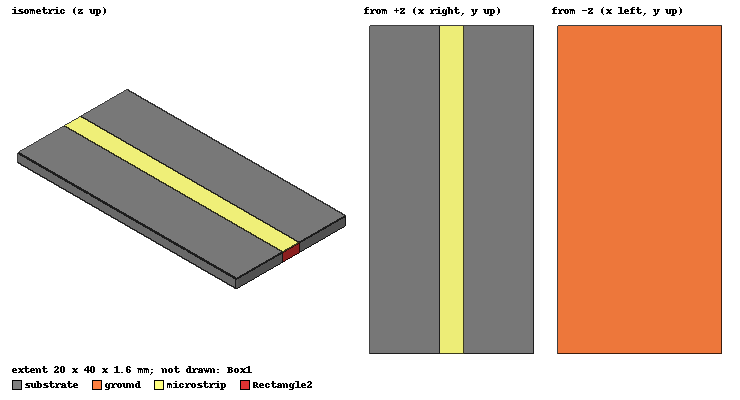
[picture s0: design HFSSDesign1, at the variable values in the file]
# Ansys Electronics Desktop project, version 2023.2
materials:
  vacuum: permittivity=1
  FR4_epoxy: permittivity=4.4 dielectric_loss_tangent=0.02
  air: permittivity=1.0006 permeability=1.0000004

design HFSSDesign1 (HFSS, HFSS Terminal Composite, model units mm)
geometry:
  ground = rectangle(corner=(0mm, 0mm, 0mm), x_size=20mm, y_size=40mm)
  substrate [FR4_epoxy] = box(corner=(0mm, 0mm, 0mm), size=(20mm, 40mm, 1.6mm))
  microstrip = rectangle(corner=((10 -1.5) mm, 0mm, 1.6mm), x_size=3mm, y_size=40mm)
  Rectangle1 = rectangle(corner=(8.5mm, 0mm, 1.6mm), z_size=-1.6mm, x_size=3mm)
  Rectangle2 = rectangle(corner=(11.5mm, 40mm, 1.6mm), z_size=-1.6mm, x_size=-3mm)
  Box1 [air] = box(corner=(-10mm, -10mm, -20mm), size=(40mm, 60mm, 40mm))
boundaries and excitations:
  PerfE1: Perfect E Objects=[ground, microstrip]
  Rad1: Radiation Objects=Box1
  1: Lumped Port Objects=Rectangle1 LumpedPortType=Modal Modes{Mode1{IntLine{(10, 0, 1.6) -> (10, 0, 0)} CharImp=Zpi}} Impedance=50ohm
  2: Lumped Port Objects=Rectangle2 LumpedPortType=Modal Modes{Mode1{IntLine{(10, 40, 1.6) -> (10, 40, 0)} CharImp=Zpi}} Impedance=50ohm
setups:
  Setup1: HfssDriven Frequency=5GHz MaximumDeltaNormalizedPower=0.02 MaximumPasses=6 MinimumPasses=1 MinimumConvergedPasses=1 PercentRefinement=30 BasisOrder=1 PortAccuracy=2 DrivenSolverType="Direct Solver"
    sweep Sweep: 1GHz to 20GHz step 1GHz; disabled Type=Discrete SaveFields
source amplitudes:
  1:1: 1V 0deg
  2:1: 0V 0deg
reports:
  Active S Parameter Plot 1: dB(ActiveS(1:1)), dB(ActiveS(2:1)) vs Freq on Setup1 : Sweep
